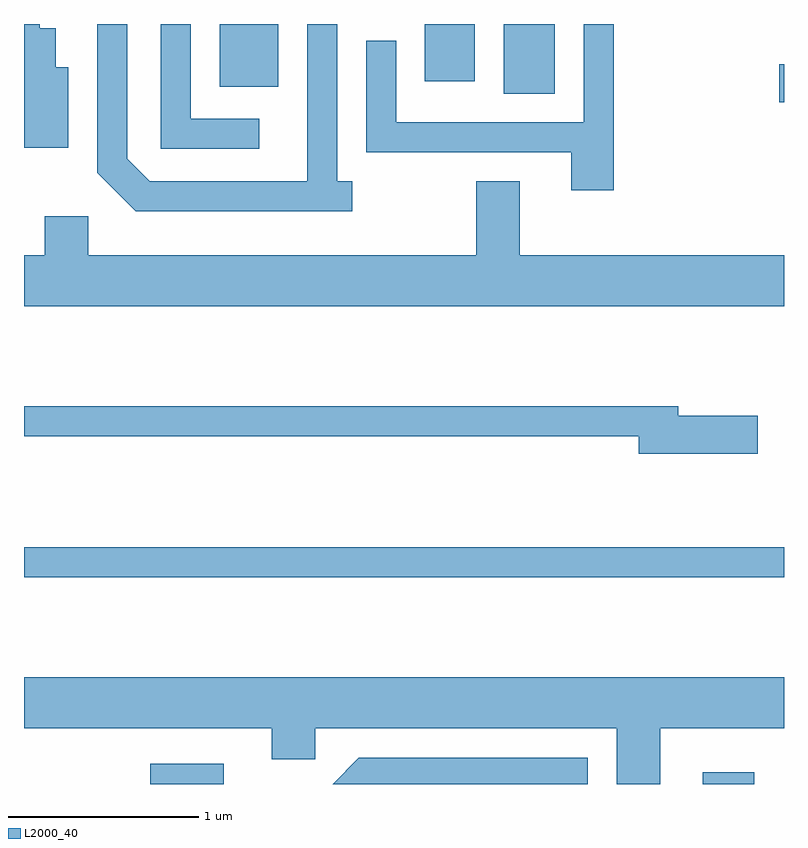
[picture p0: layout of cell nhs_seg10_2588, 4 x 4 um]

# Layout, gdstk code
import gdstk
lib = gdstk.Library(unit=1e-6, precision=1e-09)
def R(c, l, rs):  # rectangles x0, y0, x1, y1
    for r in rs: c.add(gdstk.rectangle(r[:2], r[2:], *l))
def P(c, l, *ps):  # polygons
    for p in ps: c.add(gdstk.Polygon(p, *l))
L2000_40 = (2000, 40)

nhs_seg10_2588 = lib.new_cell('nhs_seg10_2588')
R(nhs_seg10_2588, L2000_40, [(262.276,2102.522,262.663,2102.629), (265.183,2102.522,265.454,2102.584), (261.611,2103.611,265.611,2103.769), (265.586,2106.111,265.611,2106.309), (264.136,2106.156,264.404,2106.522), (262.641,2106.191,262.949,2106.522), (263.721,2106.221,263.984,2106.522)])
P(nhs_seg10_2588, L2000_40, [(262.848,2106.024),(262.489,2106.024),(262.489,2106.522),(262.331,2106.522),(262.331,2105.866),(262.848,2105.866)],
  [(261.844,2106.294),(261.779,2106.294),(261.779,2106.499),(261.694,2106.499),(261.694,2106.522),(261.611,2106.522),(261.611,2105.871),(261.844,2105.871)],
  [(263.338,2105.694),(263.259,2105.694),(263.259,2106.522),(263.101,2106.522),(263.101,2105.694),(262.272,2105.694),(262.154,2105.812),(262.154,2106.522),(261.996,2106.522),(261.996,2105.739),(262.199,2105.536),(263.338,2105.536)],
  [(264.714,2106.522),(264.556,2106.522),(264.556,2106.004),(263.569,2106.004),(263.569,2106.433),(263.411,2106.433),(263.411,2105.846),(264.491,2105.846),(264.491,2105.646),(264.714,2105.646)],
  [(265.611,2105.304),(264.219,2105.304),(264.219,2105.694),(263.991,2105.694),(263.991,2105.304),(261.949,2105.304),(261.949,2105.509),(261.721,2105.509),(261.721,2105.304),(261.611,2105.304),(261.611,2105.036),(265.611,2105.036)],
  [(265.474,2104.459),(265.054,2104.459),(265.054,2104.509),(261.611,2104.509),(261.611,2104.351),(264.846,2104.351),(264.846,2104.261),(265.474,2104.261)],
  [(264.959,2102.816),(265.611,2102.816),(265.611,2103.084),(261.611,2103.084),(261.611,2102.816),(262.916,2102.816),(262.916,2102.651),(263.144,2102.651),(263.144,2102.816),(264.731,2102.816),(264.731,2102.522),(264.959,2102.522)],
  [(264.579,2102.659),(263.374,2102.659),(263.237,2102.522),(264.579,2102.522)])

lib.write_gds('nhs_seg10_2588.gds')
